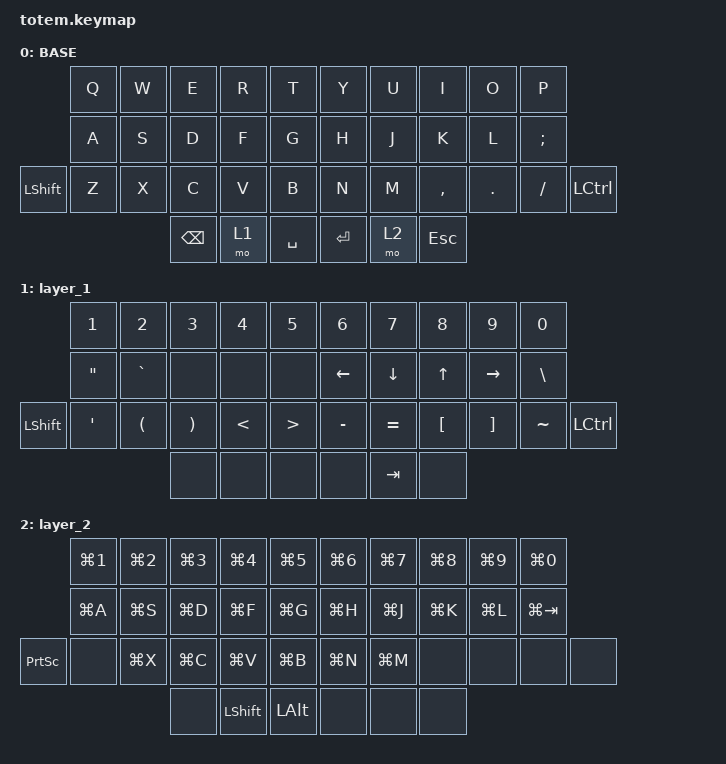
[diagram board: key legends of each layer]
//
//                                                        ▀▀▀▀▀     ▀▀▀▀▀          ▀▀█▀▀
//                                                        ▄▀▀▀▄  ▄  ▄▀▀▀▄  ▄  ▄▀▀▀▄  █  ▄▀▀▀▄
//                                                        █   █  █  █   █  █  █   █  █  █   █
//                                                         ▀▀▀   █   ▀▀▀   █   ▀▀▀   ▀   ▀▀▀
//                                                               █      ▄▄▄█▄▄▄    █   █  
//                                                               ▀      █  █  █     █▄█
//                                                             ▀▀▀▀▀    █  █  █      ▀
//                                                                      ▀  ▀  ▀
//
// ▄▄▄▄▄▄▄▄▄▄▄▄▄▄▄▄▄▄▄▄▄▄▄▄▄▄▄▄▄▄▄▄▄▄▄▄▄▄▄▄▄▄▄▄▄▄▄▄▄▄▄▄▄▄▄▄▄▄▄▄▄▄▄▄▄▄▄▄▄▄▄▄▄▄▄▄▄▄▄▄▄▄▄▄▄▄▄▄▄▄▄▄▄▄▄▄▄▄▄▄▄▄▄▄▄▄▄▄▄▄▄▄▄▄▄▄▄▄▄▄▄▄▄▄▄▄▄▄▄▄▄▄▄▄▄▄▄▄▄▄▄▄▄▄▄▄▄▄▄

#include <behaviors.dtsi>
#include <dt-bindings/zmk/keys.h>

#define BASE 0
#define NAV  1
#define SYM  2
#define ADJ  3
#define TVP1 4
#define TVP2 5

&mt {
    quick-tap-ms = <100>;
    global-quick-tap;
    flavor = "tap-preferred";
    tapping-term-ms = <170>;
};

/ {
    combos {
        compatible = "zmk,combos";

        combo_esc {
            timeout-ms = <50>;
            key-positions = <0 1>;
            bindings = <&kp ESC>;
        };

        combo_tvp {
            timeout-ms = <100>;
            key-positions = <11 12 13>;
            bindings = <&tog 0>;
        };
    };

    macros {
        gif: gif {
            label = "giphy";
            compatible = "zmk,behavior-macro";
            #binding-cells = <0>;
            bindings =
                <&macro_press>,
                <&kp LSHFT>,
                <&macro_tap>,
                <&kp N2>,
                <&macro_release>,
                <&kp LSHFT>,
                <&macro_tap>,
                <&kp G &kp I &kp F>;
        };
    };

    keymap {
        compatible = "zmk,keymap";

        // ▄▄▄▄▄▄▄▄▄▄▄▄▄▄▄▄▄▄▄▄▄▄▄▄▄▄▄▄▄▄▄▄▄▄▄▄▄▄▄▄▄▄▄▄▄▄▄▄▄▄▄▄▄▄▄▄▄▄▄▄▄▄▄▄▄▄▄▄▄▄▄▄▄▄▄▄▄▄▄▄▄▄▄▄▄▄▄▄▄▄▄▄▄▄▄▄▄▄▄▄▄▄▄▄▄▄▄▄▄▄▄▄▄▄▄▄▄▄▄▄▄▄▄▄▄▄▄▄▄▄▄▄▄▄▄▄▄▄▄▄▄▄▄▄▄▄▄▄▄

        base_layer {
            // ┏━━━━━━━━━━━━━━━━━━━━━━━━━━━━━━━━━━━━━━━┓

            label = "BASE";

            // ┗━━━━━━━━━━━━━━━━━━━━━━━━━━━━━━━━━━━━━━━┛
            //             ┏━━━━━━━━━━━┳━━━━━━━━━━━┳━━━━━━━━━━━┳━━━━━━━━━━━┳━━━━━━━━━━━┓   ┏━━━━━━━━━━━┳━━━━━━━━━━━┳━━━━━━━━━━━┳━━━━━━━━━━━┳━━━━━━━━━━━┓
            //             ┃     Q     ┃     W     ┃     F     ┃     P     ┃     G     ┃   ┃     J     ┃     L     ┃     U     ┃     Y     ┃     ;     ┃
            //             ┣━━━━━━━━━━━╋━━━━━━━━━━━╋━━━━━━━━━━━╋━━━━━━━━━━━╋━━━━━━━━━━━┫   ┣━━━━━━━━━━━╋━━━━━━━━━━━╋━━━━━━━━━━━╋━━━━━━━━━━━╋━━━━━━━━━━━┫
            //             ┃     A     ┃     R     ┃     S     ┃     T     ┃     D     ┃   ┃     H     ┃     N     ┃     E     ┃     I     ┃     O     ┃
            // ┏━━━━━━━━━━━╋━━━━━━━━━━━╋━━━━━━━━━━━╋━━━━━━━━━━━╋━━━━━━━━━━━╋━━━━━━━━━━━┫   ┣━━━━━━━━━━━╋━━━━━━━━━━━╋━━━━━━━━━━━╋━━━━━━━━━━━╋━━━━━━━━━━━╋━━━━━━━━━━━┓
            // ┃     Q     ┃     Z     ┃     X     ┃     C     ┃     V     ┃     B     ┃   ┃     K     ┃     M     ┃     ,     ┃     .     ┃     /     ┃     \     ┃
            // ┗━━━━━━━━━━━┻━━━━━━━━━━━┻━━━━━━━━━━━╋━━━━━━━━━━━╋━━━━━━━━━━━╋━━━━━━━━━━━┫   ┣━━━━━━━━━━━╋━━━━━━━━━━━╋━━━━━━━━━━━╋━━━━━━━━━━━┻━━━━━━━━━━━┻━━━━━━━━━━━┛
            //                                     ┃    DEL    ┃    TAB    ┃    SPC    ┃   ┃   ENTER   ┃           ┃   BSPC    ┃
            //                                     ┗━━━━━━━━━━━┻━━━━━━━━━━━┻━━━━━━━━━━━┛   ┗━━━━━━━━━━━┻━━━━━━━━━━━┻━━━━━━━━━━━┛

            bindings = <
                &kp Q  &kp W  &kp E          &kp R  &kp T        &kp Y    &kp U  &kp I      &kp O    &kp P
                &kp A  &kp S  &kp D          &kp F  &kp G        &kp H    &kp J  &kp K      &kp L    &kp SEMICOLON
&kp LEFT_SHIFT  &kp Z  &kp X  &kp C          &kp V  &kp B        &kp N    &kp M  &kp COMMA  &kp DOT  &kp FSLH       &kp LEFT_CONTROL
                              &kp BACKSPACE  &mo 1  &kp SPACE    &kp RET  &mo 2  &kp ESC
            >;
        };

        // ▄▄▄▄▄▄▄▄▄▄▄▄▄▄▄▄▄▄▄▄▄▄▄▄▄▄▄▄▄▄▄▄▄▄▄▄▄▄▄▄▄▄▄▄▄▄▄▄▄▄▄▄▄▄▄▄▄▄▄▄▄▄▄▄▄▄▄▄▄▄▄▄▄▄▄▄▄▄▄▄▄▄▄▄▄▄▄▄▄▄▄▄▄▄▄▄▄▄▄▄▄▄▄▄▄▄▄▄▄▄▄▄▄▄▄▄▄▄▄▄▄▄▄▄▄▄▄▄▄▄▄▄▄▄▄▄▄▄▄▄▄▄▄▄▄▄▄▄▄
        // ▄▄▄▄▄▄▄▄▄▄▄▄▄▄▄▄▄▄▄▄▄▄▄▄▄▄▄▄▄▄▄▄▄▄▄▄▄▄▄▄▄▄▄▄▄▄▄▄▄▄▄▄▄▄▄▄▄▄▄▄▄▄▄▄▄▄▄▄▄▄▄▄▄▄▄▄▄▄▄▄▄▄▄▄▄▄▄▄▄▄▄▄▄▄▄▄▄▄▄▄▄▄▄▄▄▄▄▄▄▄▄▄▄▄▄▄▄▄▄▄▄▄▄▄▄▄▄▄▄▄▄▄▄▄▄▄▄▄▄▄▄▄▄▄▄▄▄▄▄
        // ▄▄▄▄▄▄▄▄▄▄▄▄▄▄▄▄▄▄▄▄▄▄▄▄▄▄▄▄▄▄▄▄▄▄▄▄▄▄▄▄▄▄▄▄▄▄▄▄▄▄▄▄▄▄▄▄▄▄▄▄▄▄▄▄▄▄▄▄▄▄▄▄▄▄▄▄▄▄▄▄▄▄▄▄▄▄▄▄▄▄▄▄▄▄▄▄▄▄▄▄▄▄▄▄▄▄▄▄▄▄▄▄▄▄▄▄▄▄▄▄▄▄▄▄▄▄▄▄▄▄▄▄▄▄▄▄▄▄▄▄▄▄▄▄▄▄▄▄▄
        // ▄▄▄▄▄▄▄▄▄▄▄▄▄▄▄▄▄▄▄▄▄▄▄▄▄▄▄▄▄▄▄▄▄▄▄▄▄▄▄▄▄▄▄▄▄▄▄▄▄▄▄▄▄▄▄▄▄▄▄▄▄▄▄▄▄▄▄▄▄▄▄▄▄▄▄▄▄▄▄▄▄▄▄▄▄▄▄▄▄▄▄▄▄▄▄▄▄▄▄▄▄▄▄▄▄▄▄▄▄▄▄▄▄▄▄▄▄▄▄▄▄▄▄▄▄▄▄▄▄▄▄▄▄▄▄▄▄▄▄▄▄▄▄▄▄▄▄▄▄
        // ▄▄▄▄▄▄▄▄▄▄▄▄▄▄▄▄▄▄▄▄▄▄▄▄▄▄▄▄▄▄▄▄▄▄▄▄▄▄▄▄▄▄▄▄▄▄▄▄▄▄▄▄▄▄▄▄▄▄▄▄▄▄▄▄▄▄▄▄▄▄▄▄▄▄▄▄▄▄▄▄▄▄▄▄▄▄▄▄▄▄▄▄▄▄▄▄▄▄▄▄▄▄▄▄▄▄▄▄▄▄▄▄▄▄▄▄▄▄▄▄▄▄▄▄▄▄▄▄▄▄▄▄▄▄▄▄▄▄▄▄▄▄▄▄▄▄▄▄▄

        layer_1 {
            bindings = <
                &kp N1             &kp N2                &kp N3                 &kp N4         &kp N5              &kp N6     &kp N7     &kp N8    &kp N9     &kp N0
                &kp DOUBLE_QUOTES  &kp GRAVE             &none                  &none          &none               &kp LEFT   &kp DOWN   &kp UP    &kp RIGHT  &kp BSLH
&kp LEFT_SHIFT  &kp SINGLE_QUOTE   &kp LEFT_PARENTHESIS  &kp RIGHT_PARENTHESIS  &kp LESS_THAN  &kp GREATER_THAN    &kp MINUS  &kp EQUAL  &kp LBKT  &kp RBKT   &kp TILDE  &kp LCTRL
                                                         &none                  &none          &none               &none      &kp TAB    &none
            >;
        };

        layer_2 {
            bindings = <
                 &kp LG(NUMBER_1)  &kp LG(NUMBER_2)  &kp LG(NUMBER_3)  &kp LG(NUMBER_4)  &kp LG(NUMBER_5)    &kp LG(N6)  &kp LG(N7)  &kp LG(N8)  &kp LG(N9)  &kp LG(N0)
                 &kp LG(A)         &kp LG(S)         &kp LG(D)         &kp LG(F)         &kp LG(G)           &kp LG(H)   &kp LG(J)   &kp LG(K)   &kp LG(L)   &kp LG(TAB)
&kp PRINTSCREEN  &none             &kp LG(X)         &kp LG(C)         &kp LG(V)         &kp LG(B)           &kp LG(N)   &kp LG(M)   &none       &none       &none        &none
                                                     &none             &kp LSHIFT        &kp LALT            &none       &none       &none
            >;
        };
    };

    conditional_layers { compatible = "zmk,conditional-layers"; };
};
